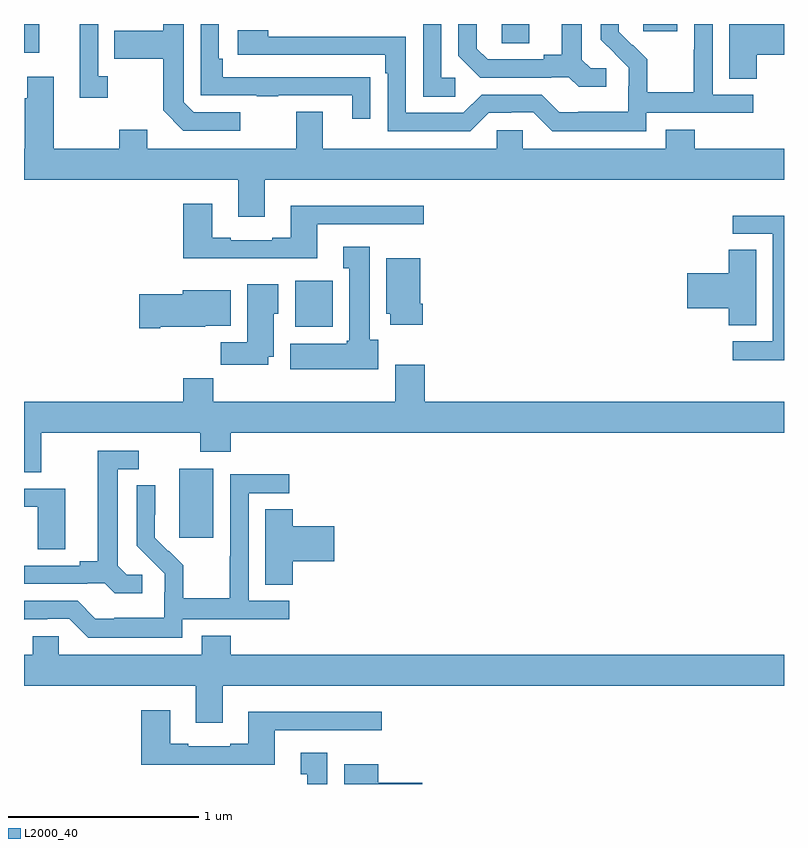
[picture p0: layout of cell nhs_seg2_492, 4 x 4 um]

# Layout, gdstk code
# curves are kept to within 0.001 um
import gdstk
lib = gdstk.Library(unit=1e-6, precision=1e-09)
def R(c, l, rs):  # rectangles x0, y0, x1, y1
    for r in rs: c.add(gdstk.rectangle(r[:2], r[2:], *l))
def P(c, l, *ps):  # polygons
    for p in ps: c.add(gdstk.Polygon(p, *l))
L2000_40 = (2000, 40)

nhs_seg2_492 = lib.new_cell('nhs_seg2_492')
R(nhs_seg2_492, L2000_40, [(135.818,635.097,135.997,635.458), (136.427,636.206,136.624,636.448), (135,637.649,135.079,637.8), (137.514,637.699,137.659,637.8), (138.26,637.761,138.439,637.8)])
P(nhs_seg2_492, L2000_40, [(135.442,637.526),(135.39,637.526),(135.39,637.8),(135.293,637.8),(135.293,637.413),(135.442,637.413)],
  [(138.276,637.332),(138.838,637.332),(138.838,637.428),(138.624,637.428),(138.624,637.8),(138.528,637.8),(138.528,637.664),(138.526,637.664),(138.526,637.441),(138.281,637.441),(138.281,637.615),(138.204,637.692),(138.201,637.689),(138.131,637.76),(138.131,637.8),(138.036,637.8),(138.036,637.718),(138.182,637.57),(138.182,637.473),(138.18,637.473),(138.18,637.339),(137.917,637.339),(137.917,637.335),(137.817,637.335),(137.724,637.428),(137.409,637.428),(137.313,637.332),(137.01,637.332),(137.01,637.734),(136.286,637.734),(136.286,637.768),(136.125,637.768),(136.125,637.638),(136.901,637.638),(136.901,637.541),(136.914,637.541),(136.914,637.236),(137.349,637.236),(137.445,637.332),(137.564,637.332),(137.564,637.335),(137.679,637.335),(137.779,637.235),(138.276,637.235)],
  [(136.138,637.335),(135.894,637.335),(135.84,637.389),(135.84,637.8),(135.732,637.8),(135.732,637.765),(135.475,637.765),(135.475,637.618),(135.732,637.618),(135.732,637.345),(135.837,637.239),(136.138,637.239)],
  [(138.064,637.566),(137.982,637.566),(137.935,637.613),(137.935,637.8),(137.831,637.8),(137.831,637.637),(137.735,637.637),(137.735,637.614),(137.44,637.614),(137.383,637.671),(137.383,637.8),(137.286,637.8),(137.286,637.634),(137.402,637.518),(137.774,637.518),(137.774,637.521),(137.868,637.521),(137.92,637.469),(138.064,637.469)],
  [(138.857,637.637),(139,637.637),(139,637.8),(138.713,637.8),(138.713,637.513),(138.857,637.513)],
  [(137.269,637.518),(137.196,637.518),(137.196,637.8),(137.1,637.8),(137.1,637.417),(137.269,637.417)],
  [(136.823,637.52),(136.721,637.52),(136.721,637.521),(136.046,637.521),(136.046,637.618),(136.026,637.618),(136.026,637.8),(135.93,637.8),(135.93,637.425),(136.225,637.425),(136.225,637.42),(136.337,637.42),(136.337,637.425),(136.727,637.425),(136.727,637.302),(136.823,637.302)],
  [(136.267,636.98),(139,636.98),(139,637.144),(138.53,637.144),(138.53,637.243),(138.377,637.243),(138.377,637.144),(137.625,637.144),(137.625,637.242),(137.487,637.242),(137.487,637.144),(136.573,637.144),(136.573,637.339),(136.433,637.339),(136.433,637.144),(135.649,637.144),(135.649,637.243),(135.502,637.243),(135.502,637.144),(135.157,637.144),(135.157,637.522),(135.017,637.522),(135.017,637.409),(135.005,637.409),(135.005,637.144),(135,637.144),(135,636.98),(136.127,636.98),(136.127,636.786),(136.267,636.786)],
  [(136.543,636.747),(137.104,636.747),(137.104,636.844),(136.403,636.844),(136.403,636.676),(136.307,636.676),(136.307,636.663),(136.087,636.663),(136.087,636.676),(135.991,636.676),(135.991,636.853),(135.839,636.853),(135.839,636.566),(136.543,636.566)],
  [(139,636.792),(138.729,636.792),(138.729,636.696),(138.942,636.696),(138.942,636.129),(138.729,636.129),(138.729,636.031),(139,636.031)],
  [(136.864,636.138),(136.819,636.138),(136.819,636.628),(136.679,636.628),(136.679,636.515),(136.712,636.515),(136.712,636.132),(136.699,636.132),(136.699,636.118),(136.4,636.118),(136.4,635.984),(136.864,635.984)],
  [(138.853,636.611),(138.71,636.611),(138.71,636.488),(138.492,636.488),(138.492,636.305),(138.71,636.305),(138.71,636.214),(138.853,636.214)],
  [(137.099,636.328),(137.086,636.328),(137.086,636.568),(136.907,636.568),(136.907,636.276),(136.928,636.276),(136.928,636.216),(137.099,636.216)],
  [(136.285,636.05),(136.315,636.05),(136.315,636.276),(136.339,636.276),(136.339,636.43),(136.175,636.43),(136.175,636.124),(136.036,636.124),(136.036,636.006),(136.285,636.006)],
  [(135.718,636.206),(135.954,636.206),(135.954,636.212),(136.087,636.212),(136.087,636.4),(135.836,636.4),(135.836,636.377),(135.606,636.377),(135.606,636.199),(135.718,636.199)],
  [(136.088,635.648),(139,635.648),(139,635.812),(137.108,635.812),(137.108,636.007),(136.955,636.007),(136.955,635.812),(135.995,635.812),(135.995,635.936),(135.839,635.936),(135.839,635.812),(135,635.812),(135,635.44),(135.091,635.44),(135.091,635.648),(135.928,635.648),(135.928,635.549),(136.088,635.549)],
  [(135.622,634.902),(135.54,634.902),(135.493,634.949),(135.493,635.457),(135.604,635.457),(135.604,635.553),(135.389,635.553),(135.389,634.973),(135.293,634.973),(135.293,634.95),(135,634.95),(135,634.854),(135.332,634.854),(135.332,634.857),(135.426,634.857),(135.478,634.805),(135.622,634.805)],
  [(135.834,634.668),(136.396,634.668),(136.396,634.764),(136.182,634.764),(136.182,635.331),(136.396,635.331),(136.396,635.43),(136.086,635.43),(136.086,635),(136.084,635),(136.084,634.777),(135.839,634.777),(135.839,634.951),(135.762,635.028),(135.759,635.025),(135.689,635.096),(135.69,635.372),(135.594,635.372),(135.594,635.054),(135.74,634.906),(135.74,634.809),(135.738,634.809),(135.738,634.675),(135.475,634.675),(135.475,634.671),(135.375,634.671),(135.282,634.764),(135,634.764),(135,634.665),(135.003,634.668),(135.122,634.668),(135.122,634.671),(135.237,634.671),(135.337,634.571),(135.834,634.571)],
  [(135.217,635.355),(135,635.355),(135,635.259),(135.072,635.259),(135.072,635.035),(135.217,635.035)],
  [(136.415,634.973),(136.633,634.973),(136.633,635.156),(136.415,635.156),(136.415,635.246),(136.271,635.246),(136.271,634.849),(136.415,634.849)],
  [(136.045,634.316),(139,634.316),(139,634.48),(136.088,634.48),(136.088,634.579),(135.935,634.579),(135.935,634.48),(135.183,634.48),(135.183,634.578),(135.045,634.578),(135.045,634.48),(135,634.48),(135,634.316),(135.905,634.316),(135.905,634.122),(136.045,634.122)],
  [(136.321,634.083),(136.882,634.083),(136.882,634.18),(136.181,634.18),(136.181,634.012),(136.085,634.012),(136.085,633.999),(135.865,633.999),(135.865,634.012),(135.769,634.012),(135.769,634.189),(135.617,634.189),(135.617,633.902),(136.321,633.902)],
  [(136.597,633.964),(136.457,633.964),(136.457,633.851),(136.49,633.851),(136.49,633.8),(136.597,633.8)],
  [(137.095,633.806),(136.864,633.806),(136.864,633.904),(136.685,633.904),(136.685,633.8),(137.095,633.8)])

lib.write_gds('nhs_seg2_492.gds')
